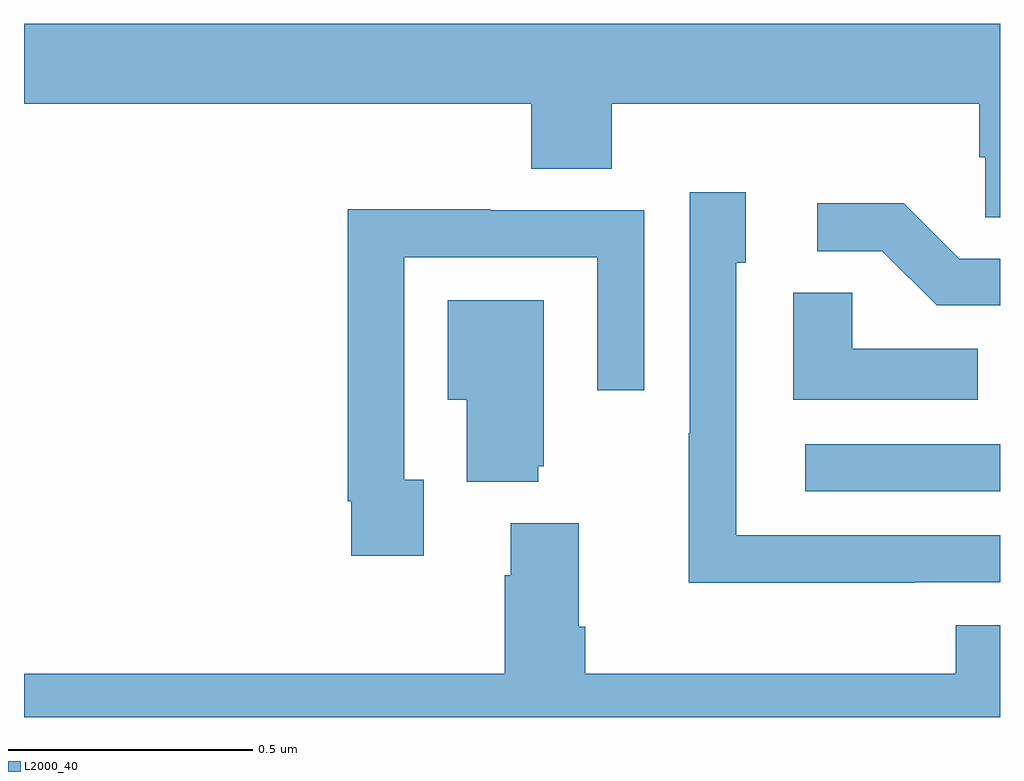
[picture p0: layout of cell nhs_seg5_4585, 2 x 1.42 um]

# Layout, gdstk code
import gdstk
lib = gdstk.Library(unit=1e-6, precision=1e-09)
def R(c, l, rs):  # rectangles x0, y0, x1, y1
    for r in rs: c.add(gdstk.rectangle(r[:2], r[2:], *l))
def P(c, l, *ps):  # polygons
    for p in ps: c.add(gdstk.Polygon(p, *l))
L2000_40 = (2000, 40)

nhs_seg5_4585 = lib.new_cell('nhs_seg5_4585')
R(nhs_seg5_4585, L2000_40, [(173.601,893.262,174,893.358)])
P(nhs_seg5_4585, L2000_40, [(174,894.22),(172,894.22),(172,894.056),(173.039,894.056),(173.039,893.923),(173.204,893.923),(173.204,894.056),(173.957,894.056),(173.957,893.947),(173.97,893.947),(173.97,893.824),(174,893.824)],
  [(173.825,893.076),(174,893.076),(174,893.172),(173.46,893.172),(173.46,893.73),(173.479,893.73),(173.479,893.875),(173.364,893.875),(173.364,893.381),(173.362,893.381),(173.362,893.075),(173.825,893.075)],
  [(174,893.739),(173.916,893.739),(173.803,893.852),(173.625,893.852),(173.625,893.754),(173.759,893.754),(173.87,893.643),(174,893.643)],
  [(172.819,893.286),(172.779,893.286),(172.779,893.742),(173.175,893.742),(173.175,893.469),(173.271,893.469),(173.271,893.838),(172.955,893.838),(172.955,893.84),(172.663,893.84),(172.663,893.242),(172.671,893.242),(172.671,893.13),(172.819,893.13)],
  [(173.954,893.554),(173.697,893.554),(173.697,893.669),(173.576,893.669),(173.576,893.45),(173.954,893.45)],
  [(173.054,893.313),(173.065,893.313),(173.065,893.653),(172.868,893.653),(172.868,893.45),(172.907,893.45),(172.907,893.282),(173.054,893.282)],
  [(174,892.987),(173.909,892.987),(173.909,892.888),(173.15,892.888),(173.15,892.984),(173.137,892.984),(173.137,893.197),(172.997,893.197),(172.997,893.09),(172.985,893.09),(172.985,892.888),(172,892.888),(172,892.799),(174,892.799)])

lib.write_gds('nhs_seg5_4585.gds')
